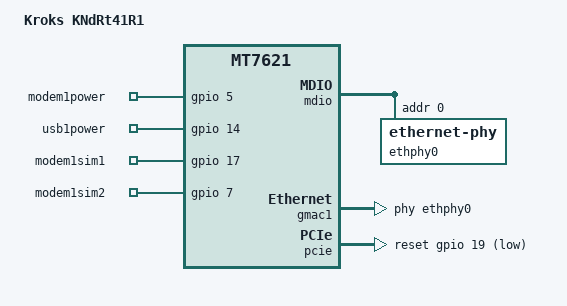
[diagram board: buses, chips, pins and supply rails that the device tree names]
#include "mt7621_kroks_wifi_mt7603_mt7613.dtsi"

/ {
	compatible = "kroks,kndrt41r1", "mediatek,mt7621-soc";
	model = "Kroks KNdRt41R1";

	gpio_export {
		compatible = "gpio-export";
		#size-cells = <0>;

		modem1power {
			gpio-export,name = "modem1power";
			gpio-export,output = <1>;
			gpios = <&gpio 5 GPIO_ACTIVE_HIGH>;
		};

		usb1power {
			gpio-export,name = "usb1power";
			gpio-export,output = <1>;
			gpios = <&gpio 14 GPIO_ACTIVE_HIGH>;
		};

		modem1sim1 {
			gpio-export,name = "modem1sim1";
			gpio-export,output = <1>;
			gpios = <&gpio 17 GPIO_ACTIVE_HIGH>;
		};

		modem1sim2 {
			gpio-export,name = "modem1sim2";
			gpio-export,output = <0>;
			gpios = <&gpio 7 GPIO_ACTIVE_HIGH>;
		};
	};
};

&mdio {
	ethphy0: ethernet-phy@0 {
		reg = <0>;
	};
};

&gmac1 {
	status = "okay";
	label = "wan";
	phy-handle = <&ethphy0>;
};

&switch0 {
	ports {
		port@1 {
			status = "okay";
			label = "lan1";
		};

		port@2 {
			status = "okay";
			label = "lan2";
		};

		port@3 {
			status = "okay";
			label = "lan3";
		};
	};
};

&pcie {
	reset-gpios = <&gpio 19 GPIO_ACTIVE_LOW>,
		      <>,
		      <&gpio 0 GPIO_ACTIVE_LOW>;
};

&pcie2 {
	status = "disabled";
};

&pcie2_phy {
	status = "disabled";
};
